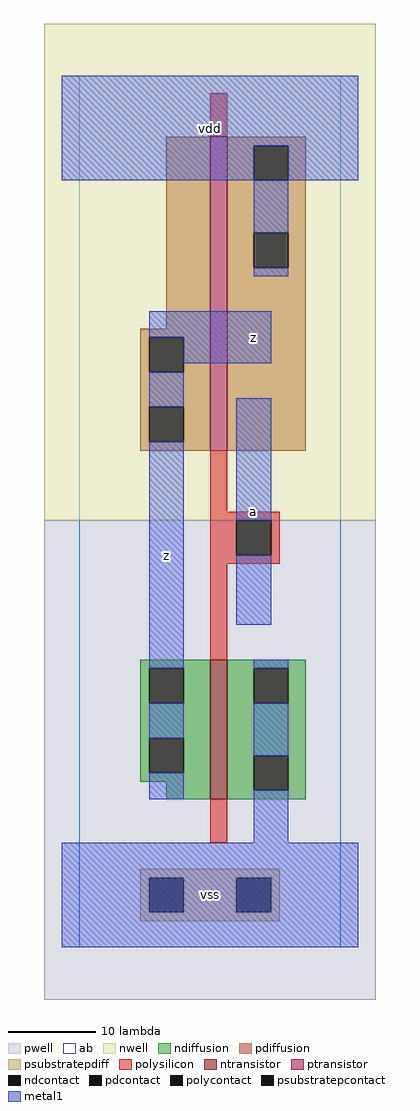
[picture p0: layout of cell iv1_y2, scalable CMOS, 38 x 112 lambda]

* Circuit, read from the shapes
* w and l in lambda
.subckt iv1_y2 a vdd vss z
M1 vss a z vss nfet w=16 l=2
M2 vdd a z n1 pfet w=36 l=2
.ends

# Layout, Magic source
magic
tech scmos
<< ab >>
rect 0 0 30 100
<< pwell >>
rect -4 -6 34 49
<< nwell >>
rect -4 49 34 106
<< polysilicon >>
rect 15 93 17 98
rect 15 50 17 57
rect 15 49 23 50
rect 15 45 18 49
rect 22 45 23 49
rect 15 44 23 45
rect 15 33 17 44
rect 15 12 17 17
<< ndiffusion >>
rect 7 32 15 33
rect 7 28 8 32
rect 12 28 15 32
rect 7 24 15 28
rect 7 20 8 24
rect 12 20 15 24
rect 7 19 15 20
rect 10 17 15 19
rect 17 32 26 33
rect 17 28 20 32
rect 24 28 26 32
rect 17 22 26 28
rect 17 18 20 22
rect 24 18 26 22
rect 17 17 26 18
<< pdiffusion >>
rect 10 71 15 93
rect 7 70 15 71
rect 7 66 8 70
rect 12 66 15 70
rect 7 62 15 66
rect 7 58 8 62
rect 12 58 15 62
rect 7 57 15 58
rect 17 92 26 93
rect 17 88 20 92
rect 24 88 26 92
rect 17 82 26 88
rect 17 78 20 82
rect 24 78 26 82
rect 17 57 26 78
<< metal1 >>
rect -2 92 32 100
rect -2 88 20 92
rect 24 88 32 92
rect 20 82 24 88
rect 20 77 24 78
rect 8 70 22 73
rect 12 67 22 70
rect 8 62 12 66
rect 8 32 12 58
rect 18 49 22 63
rect 18 37 22 45
rect 8 24 12 28
rect 8 17 12 20
rect 20 32 24 33
rect 20 22 24 28
rect 20 12 24 18
rect -2 0 32 12
<< ntransistor >>
rect 15 17 17 33
<< ptransistor >>
rect 15 57 17 93
<< polycontact >>
rect 18 45 22 49
<< ndcontact >>
rect 8 28 12 32
rect 8 20 12 24
rect 20 28 24 32
rect 20 18 24 22
<< pdcontact >>
rect 8 66 12 70
rect 8 58 12 62
rect 20 88 24 92
rect 20 78 24 82
<< psubstratepcontact >>
rect 8 4 12 8
rect 18 4 22 8
<< psubstratepdiff >>
rect 7 8 23 9
rect 7 4 8 8
rect 12 4 18 8
rect 22 4 23 8
rect 7 3 23 4
<< labels >>
rlabel metal1 10 45 10 45 6 z
rlabel metal1 10 45 10 45 6 z
rlabel metal1 15 6 15 6 6 vss
rlabel metal1 15 6 15 6 6 vss
rlabel metal1 20 50 20 50 6 a
rlabel metal1 20 50 20 50 6 a
rlabel metal1 20 70 20 70 6 z
rlabel metal1 20 70 20 70 6 z
rlabel metal1 15 94 15 94 6 vdd
rlabel metal1 15 94 15 94 6 vdd
<< end >>
